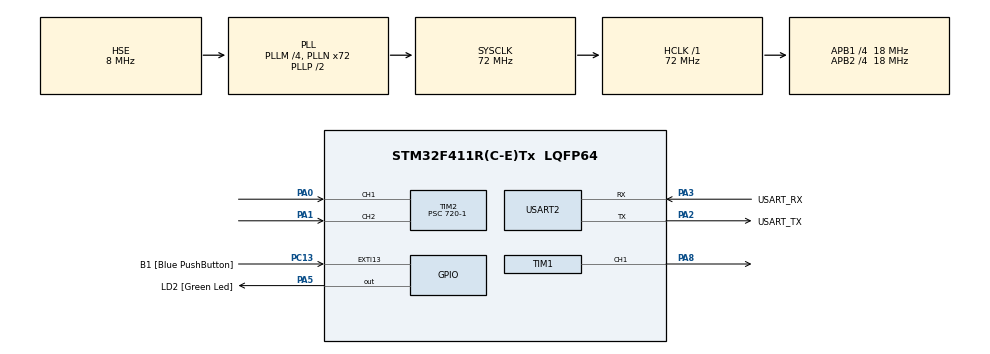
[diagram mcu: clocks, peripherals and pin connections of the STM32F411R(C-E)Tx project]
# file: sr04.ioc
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Mcu.Family=STM32F4
Mcu.Name=STM32F411R(C-E)Tx
Mcu.Package=LQFP64
NVIC.PriorityGroup=NVIC_PRIORITYGROUP_0
NVIC.TIM2_IRQn=true\:0\:0\:false\:false\:true\:true\:true\:true
PA0-WKUP.Signal=S_TIM2_CH1_ETR
PA1.Signal=S_TIM2_CH2
PA13.GPIO_Label=TMS
PA13.Mode=Serial_Wire
PA13.Signal=SYS_JTMS-SWDIO
PA14.GPIO_Label=TCK
PA14.Mode=Serial_Wire
PA14.Signal=SYS_JTCK-SWCLK
PA2.GPIO_Label=USART_TX
PA2.Mode=Asynchronous
PA2.Signal=USART2_TX
PA3.GPIO_Label=USART_RX
PA3.Mode=Asynchronous
PA3.Signal=USART2_RX
PA5.GPIO_Label=LD2 [Green Led]
PA5.Signal=GPIO_Output
PA8.Signal=S_TIM1_CH1
PB3.GPIO_Label=SWO
PB3.Signal=SYS_JTDO-SWO
PC13-ANTI_TAMP.GPIO_Label=B1 [Blue PushButton]
PC13-ANTI_TAMP.GPIO_ModeDefaultEXTI=GPIO_MODE_IT_FALLING
PC13-ANTI_TAMP.Signal=GPXTI13
PC14-OSC32_IN.Mode=LSE-External-Oscillator
PC14-OSC32_IN.Signal=RCC_OSC32_IN
PC15-OSC32_OUT.Mode=LSE-External-Oscillator
PC15-OSC32_OUT.Signal=RCC_OSC32_OUT
PH0\ -\ OSC_IN.Mode=HSE-External-Clock-Source
PH0\ -\ OSC_IN.Signal=RCC_OSC_IN
PH1\ -\ OSC_OUT.Mode=HSE-External-Clock-Source
PH1\ -\ OSC_OUT.Signal=RCC_OSC_OUT
ProjectManager.HeapSize=0x200
ProjectManager.StackSize=0x400
ProjectManager.TargetToolchain=STM32CubeIDE
RCC.48MHZClocksFreq_Value=36000000
RCC.AHBFreq_Value=72000000
RCC.APB1CLKDivider=RCC_HCLK_DIV4
RCC.APB1Freq_Value=18000000
RCC.APB1TimFreq_Value=36000000
RCC.APB2CLKDivider=RCC_HCLK_DIV4
RCC.APB2Freq_Value=18000000
RCC.APB2TimFreq_Value=36000000
RCC.CortexFreq_Value=72000000
RCC.FLatency-AdvancedSettings=FLASH_LATENCY_2
RCC.HCLKFreq_Value=72000000
RCC.HSE_VALUE=8000000
RCC.HSI_VALUE=16000000
RCC.PLLM=4
RCC.PLLN=72
RCC.PLLSourceVirtual=RCC_PLLSOURCE_HSE
RCC.SYSCLKFreq_VALUE=72000000
RCC.SYSCLKSource=RCC_SYSCLKSOURCE_PLLCLK
RCC.VCOOutputFreq_Value=144000000
SH.S_TIM1_CH1.0=TIM1_CH1,PWM Generation1 CH1
SH.S_TIM2_CH1_ETR.0=TIM2_CH1,Input_Capture1_from_TI1
SH.S_TIM2_CH2.0=TIM2_CH2,Input_Capture2_from_TI2
TIM1.Channel-PWM\ Generation1\ CH1=TIM_CHANNEL_1
TIM1.Period=50000-1
TIM1.Prescaler=36-1
TIM1.Pulse-PWM\ Generation1\ CH1=10-1
TIM2.Channel-Input_Capture1_from_TI1=TIM_CHANNEL_1
TIM2.Channel-Input_Capture2_from_TI2=TIM_CHANNEL_2
TIM2.ICFilter_CH1=15
TIM2.ICPolarity_CH2=TIM_INPUTCHANNELPOLARITY_FALLING
TIM2.Period=50000-1
TIM2.Prescaler=720-1
USART2.VirtualMode=VM_ASYNC
VP_TIM1_VS_ClockSourceINT.Mode=Internal
VP_TIM2_VS_ClockSourceINT.Mode=Internal
board=NUCLEO-F411RE

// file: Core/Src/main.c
/* USER CODE BEGIN Header */
/**
  ******************************************************************************
  * @file           : main.c
  * @brief          : Main program body
  ******************************************************************************
  * @attention
  *
  * Copyright (c) 2025 STMicroelectronics.
  * All rights reserved.
  *
  * This software is licensed under terms that can be found in the LICENSE file
  * in the root directory of this software component.
  * If no LICENSE file comes with this software, it is provided AS-IS.
  *
  ******************************************************************************
  */
/* USER CODE END Header */
#include "main.h"

/* USER CODE BEGIN Includes */
#include <stdio.h>
/* USER CODE END Includes */

TIM_HandleTypeDef htim1;
TIM_HandleTypeDef htim2;

UART_HandleTypeDef huart2;

/* USER CODE BEGIN PV */
uint32_t InputCapture1, InputCapture2;
float distance;
/* USER CODE END PV */

void SystemClock_Config(void);
static void MX_GPIO_Init(void);
static void MX_USART2_UART_Init(void);
static void MX_TIM1_Init(void);
static void MX_TIM2_Init(void);
/* USER CODE BEGIN PFP */
int __io_putchar(int ch)
{
	HAL_UART_Transmit(&huart2, (uint8_t*)&ch,1, 0xFFFF);
	return ch;
}

void HAL_TIM_IC_CaptureCallback(TIM_HandleTypeDef *htim)
{
	if(htim->Instance==TIM2)
	{
		if(htim->Channel==HAL_TIM_ACTIVE_CHANNEL_1)
		{
			InputCapture1 = HAL_TIM_ReadCapturedValue(htim, TIM_CHANNEL_1);
			__HAL_TIM_SET_COUNTER(htim, 0);
		}
		if(htim->Channel==HAL_TIM_ACTIVE_CHANNEL_2)	//echo 펄스폭 측정
		{
			InputCapture2 = HAL_TIM_ReadCapturedValue(htim, TIM_CHANNEL_2);
		}
		distance=(float)((InputCapture2+1)*20)/58;	//거리 계산
	}
}
/* USER CODE END PFP */

int main(void)
{

  /* MCU Configuration--------------------------------------------------------*/

  /* Reset of all peripherals, Initializes the Flash interface and the Systick. */
  HAL_Init();

  /* Configure the system clock */
  SystemClock_Config();

  /* Initialize all configured peripherals */
  MX_GPIO_Init();
  MX_USART2_UART_Init();
  MX_TIM1_Init();
  MX_TIM2_Init();
  /* USER CODE BEGIN 2 */
  HAL_TIM_PWM_Start(&htim1, TIM_CHANNEL_1);	//초음파 trigger 제어
  HAL_TIM_IC_Start_IT(&htim2, TIM_CHANNEL_1);	//IC1 시작
  HAL_TIM_IC_Start_IT(&htim2, TIM_CHANNEL_2);	//IC1 시작
  printf("\n Ultrasonic Test start!");
  /* USER CODE END 2 */

  /* Infinite loop */
  /* USER CODE BEGIN WHILE */
  while (1)
  {
	  printf("\n\rIC1=%d,\tIC2=%d,\tDistance=%3.1f", InputCapture1+1,InputCapture2+1, distance);
    /* USER CODE END WHILE */

  }
}

void SystemClock_Config(void)
{
  RCC_OscInitTypeDef RCC_OscInitStruct = {0};
  RCC_ClkInitTypeDef RCC_ClkInitStruct = {0};

  /** Configure the main internal regulator output voltage
  */
  __HAL_RCC_PWR_CLK_ENABLE();
  __HAL_PWR_VOLTAGESCALING_CONFIG(PWR_REGULATOR_VOLTAGE_SCALE1);

  /** Initializes the RCC Oscillators according to the specified parameters
  * in the RCC_OscInitTypeDef structure.
  */
  RCC_OscInitStruct.OscillatorType = RCC_OSCILLATORTYPE_HSE;
  RCC_OscInitStruct.HSEState = RCC_HSE_BYPASS;
  RCC_OscInitStruct.PLL.PLLState = RCC_PLL_ON;
  RCC_OscInitStruct.PLL.PLLSource = RCC_PLLSOURCE_HSE;
  RCC_OscInitStruct.PLL.PLLM = 4;
  RCC_OscInitStruct.PLL.PLLN = 72;
  RCC_OscInitStruct.PLL.PLLP = RCC_PLLP_DIV2;
  RCC_OscInitStruct.PLL.PLLQ = 4;
  if (HAL_RCC_OscConfig(&RCC_OscInitStruct) != HAL_OK)
  {
    Error_Handler();
  }

  /** Initializes the CPU, AHB and APB buses clocks
  */
  RCC_ClkInitStruct.ClockType = RCC_CLOCKTYPE_HCLK|RCC_CLOCKTYPE_SYSCLK
                              |RCC_CLOCKTYPE_PCLK1|RCC_CLOCKTYPE_PCLK2;
  RCC_ClkInitStruct.SYSCLKSource = RCC_SYSCLKSOURCE_PLLCLK;
  RCC_ClkInitStruct.AHBCLKDivider = RCC_SYSCLK_DIV1;
  RCC_ClkInitStruct.APB1CLKDivider = RCC_HCLK_DIV4;
  RCC_ClkInitStruct.APB2CLKDivider = RCC_HCLK_DIV4;

  if (HAL_RCC_ClockConfig(&RCC_ClkInitStruct, FLASH_LATENCY_2) != HAL_OK)
  {
    Error_Handler();
  }
}

static void MX_TIM1_Init(void)
{

  TIM_ClockConfigTypeDef sClockSourceConfig = {0};
  TIM_MasterConfigTypeDef sMasterConfig = {0};
  TIM_OC_InitTypeDef sConfigOC = {0};
  TIM_BreakDeadTimeConfigTypeDef sBreakDeadTimeConfig = {0};

  htim1.Instance = TIM1;
  htim1.Init.Prescaler = 36-1;
  htim1.Init.CounterMode = TIM_COUNTERMODE_UP;
  htim1.Init.Period = 50000-1;
  htim1.Init.ClockDivision = TIM_CLOCKDIVISION_DIV1;
  htim1.Init.RepetitionCounter = 0;
  htim1.Init.AutoReloadPreload = TIM_AUTORELOAD_PRELOAD_DISABLE;
  if (HAL_TIM_Base_Init(&htim1) != HAL_OK)
  {
    Error_Handler();
  }
  sClockSourceConfig.ClockSource = TIM_CLOCKSOURCE_INTERNAL;
  if (HAL_TIM_ConfigClockSource(&htim1, &sClockSourceConfig) != HAL_OK)
  {
    Error_Handler();
  }
  if (HAL_TIM_PWM_Init(&htim1) != HAL_OK)
  {
    Error_Handler();
  }
  sMasterConfig.MasterOutputTrigger = TIM_TRGO_RESET;
  sMasterConfig.MasterSlaveMode = TIM_MASTERSLAVEMODE_DISABLE;
  if (HAL_TIMEx_MasterConfigSynchronization(&htim1, &sMasterConfig) != HAL_OK)
  {
    Error_Handler();
  }
  sConfigOC.OCMode = TIM_OCMODE_PWM1;
  sConfigOC.Pulse = 10-1;
  sConfigOC.OCPolarity = TIM_OCPOLARITY_HIGH;
  sConfigOC.OCNPolarity = TIM_OCNPOLARITY_HIGH;
  sConfigOC.OCFastMode = TIM_OCFAST_DISABLE;
  sConfigOC.OCIdleState = TIM_OCIDLESTATE_RESET;
  sConfigOC.OCNIdleState = TIM_OCNIDLESTATE_RESET;
  if (HAL_TIM_PWM_ConfigChannel(&htim1, &sConfigOC, TIM_CHANNEL_1) != HAL_OK)
  {
    Error_Handler();
  }
  sBreakDeadTimeConfig.OffStateRunMode = TIM_OSSR_DISABLE;
  sBreakDeadTimeConfig.OffStateIDLEMode = TIM_OSSI_DISABLE;
  sBreakDeadTimeConfig.LockLevel = TIM_LOCKLEVEL_OFF;
  sBreakDeadTimeConfig.DeadTime = 0;
  sBreakDeadTimeConfig.BreakState = TIM_BREAK_DISABLE;
  sBreakDeadTimeConfig.BreakPolarity = TIM_BREAKPOLARITY_HIGH;
  sBreakDeadTimeConfig.AutomaticOutput = TIM_AUTOMATICOUTPUT_DISABLE;
  if (HAL_TIMEx_ConfigBreakDeadTime(&htim1, &sBreakDeadTimeConfig) != HAL_OK)
  {
    Error_Handler();
  }
  HAL_TIM_MspPostInit(&htim1);

}

static void MX_TIM2_Init(void)
{

  TIM_ClockConfigTypeDef sClockSourceConfig = {0};
  TIM_MasterConfigTypeDef sMasterConfig = {0};
  TIM_IC_InitTypeDef sConfigIC = {0};

  htim2.Instance = TIM2;
  htim2.Init.Prescaler = 720-1;
  htim2.Init.CounterMode = TIM_COUNTERMODE_UP;
  htim2.Init.Period = 50000-1;
  htim2.Init.ClockDivision = TIM_CLOCKDIVISION_DIV1;
  htim2.Init.AutoReloadPreload = TIM_AUTORELOAD_PRELOAD_DISABLE;
  if (HAL_TIM_Base_Init(&htim2) != HAL_OK)
  {
    Error_Handler();
  }
  sClockSourceConfig.ClockSource = TIM_CLOCKSOURCE_INTERNAL;
  if (HAL_TIM_ConfigClockSource(&htim2, &sClockSourceConfig) != HAL_OK)
  {
    Error_Handler();
  }
  if (HAL_TIM_IC_Init(&htim2) != HAL_OK)
  {
    Error_Handler();
  }
  sMasterConfig.MasterOutputTrigger = TIM_TRGO_RESET;
  sMasterConfig.MasterSlaveMode = TIM_MASTERSLAVEMODE_DISABLE;
  if (HAL_TIMEx_MasterConfigSynchronization(&htim2, &sMasterConfig) != HAL_OK)
  {
    Error_Handler();
  }
  sConfigIC.ICPolarity = TIM_INPUTCHANNELPOLARITY_RISING;
  sConfigIC.ICSelection = TIM_ICSELECTION_DIRECTTI;
  sConfigIC.ICPrescaler = TIM_ICPSC_DIV1;
  sConfigIC.ICFilter = 15;
  if (HAL_TIM_IC_ConfigChannel(&htim2, &sConfigIC, TIM_CHANNEL_1) != HAL_OK)
  {
    Error_Handler();
  }
  sConfigIC.ICPolarity = TIM_INPUTCHANNELPOLARITY_FALLING;
  sConfigIC.ICFilter = 0;
  if (HAL_TIM_IC_ConfigChannel(&htim2, &sConfigIC, TIM_CHANNEL_2) != HAL_OK)
  {
    Error_Handler();
  }

}

static void MX_USART2_UART_Init(void)
{

  huart2.Instance = USART2;
  huart2.Init.BaudRate = 115200;
  huart2.Init.WordLength = UART_WORDLENGTH_8B;
  huart2.Init.StopBits = UART_STOPBITS_1;
  huart2.Init.Parity = UART_PARITY_NONE;
  huart2.Init.Mode = UART_MODE_TX_RX;
  huart2.Init.HwFlowCtl = UART_HWCONTROL_NONE;
  huart2.Init.OverSampling = UART_OVERSAMPLING_16;
  if (HAL_UART_Init(&huart2) != HAL_OK)
  {
    Error_Handler();
  }

}

static void MX_GPIO_Init(void)
{
  GPIO_InitTypeDef GPIO_InitStruct = {0};

  /* GPIO Ports Clock Enable */
  __HAL_RCC_GPIOC_CLK_ENABLE();
  __HAL_RCC_GPIOH_CLK_ENABLE();
  __HAL_RCC_GPIOA_CLK_ENABLE();
  __HAL_RCC_GPIOB_CLK_ENABLE();

  /*Configure GPIO pin Output Level */
  HAL_GPIO_WritePin(LD2_GPIO_Port, LD2_Pin, GPIO_PIN_RESET);

  /*Configure GPIO pin : B1_Pin */
  GPIO_InitStruct.Pin = B1_Pin;
  GPIO_InitStruct.Mode = GPIO_MODE_IT_FALLING;
  GPIO_InitStruct.Pull = GPIO_NOPULL;
  HAL_GPIO_Init(B1_GPIO_Port, &GPIO_InitStruct);

  /*Configure GPIO pin : LD2_Pin */
  GPIO_InitStruct.Pin = LD2_Pin;
  GPIO_InitStruct.Mode = GPIO_MODE_OUTPUT_PP;
  GPIO_InitStruct.Pull = GPIO_NOPULL;
  GPIO_InitStruct.Speed = GPIO_SPEED_FREQ_LOW;
  HAL_GPIO_Init(LD2_GPIO_Port, &GPIO_InitStruct);

}

void Error_Handler(void)
{
  __disable_irq();
  while (1)
  {
  }
}
